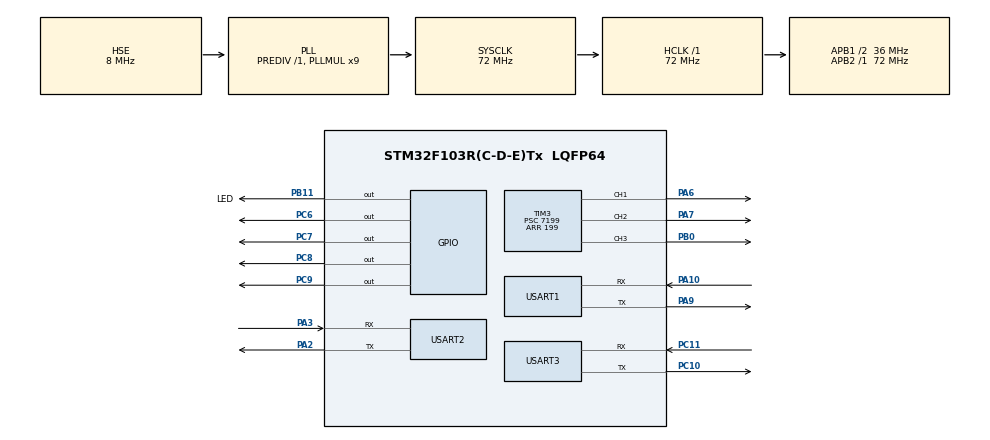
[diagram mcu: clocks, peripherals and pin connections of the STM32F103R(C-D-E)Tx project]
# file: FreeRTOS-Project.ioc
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FREERTOS.BinarySemaphores01=servo_moved_flag,Dynamic,NULL;initial_array_fill_flag,Dynamic,NULL
FREERTOS.Queues01=byte_form_data_queue,1,uint32_t,0,Dynamic,NULL,NULL;min_dist_queue,1,uint16_t,0,Dynamic,NULL,NULL;lidar_data_transmission_queue,32,uint8_t,0,Dynamic,NULL,NULL;mmwave_data_transmission_queue,128,uint8_t,0,Dynamic,NULL,NULL
FREERTOS.Tasks01=task_LED_blink,-3,128,func_LED_blink,Default,NULL,Dynamic,NULL,NULL;task_motor,0,128,func_motor,Default,NULL,Dynamic,NULL,NULL;task_initialize,2,128,func_initialize,Default,NULL,Dynamic,NULL,NULL;task_servo,1,128,func_servo,Default,NULL,Dynamic,NULL,NULL;task_lidar,0,128,func_lidar,Default,NULL,Dynamic,NULL,NULL;task_mmwave,1,128,func_mmwave,Default,NULL,Dynamic,NULL,NULL
FREERTOS.configENABLE_BACKWARD_COMPATIBILITY=0
FREERTOS.configTOTAL_HEAP_SIZE=10240
Mcu.Family=STM32F1
Mcu.Name=STM32F103R(C-D-E)Tx
Mcu.Package=LQFP64
NVIC.PriorityGroup=NVIC_PRIORITYGROUP_4
NVIC.TIM3_IRQn=true\:3\:0\:true\:false\:true\:false\:true\:true
NVIC.TIM4_IRQn=true\:0\:0\:false\:false\:true\:false\:false\:true
NVIC.TimeBase=TIM4_IRQn
NVIC.TimeBaseIP=TIM4
NVIC.USART1_IRQn=true\:7\:0\:true\:false\:true\:true\:true\:true
NVIC.USART2_IRQn=true\:7\:0\:true\:false\:true\:true\:true\:true
NVIC.USART3_IRQn=true\:6\:0\:true\:false\:true\:true\:true\:true
PA10.Mode=Asynchronous
PA10.Signal=USART1_RX
PA13.Mode=Trace_Asynchronous_SW
PA13.Signal=SYS_JTMS-SWDIO
PA14.Mode=Trace_Asynchronous_SW
PA14.Signal=SYS_JTCK-SWCLK
PA2.Mode=Asynchronous
PA2.Signal=USART2_TX
PA3.Mode=Asynchronous
PA3.Signal=USART2_RX
PA6.Signal=S_TIM3_CH1
PA7.Signal=S_TIM3_CH2
PA9.Mode=Asynchronous
PA9.Signal=USART1_TX
PB0.Signal=S_TIM3_CH3
PB11.GPIO_Label=LED
PB11.Signal=GPIO_Output
PB3.Mode=Trace_Asynchronous_SW
PB3.Signal=SYS_JTDO-TRACESWO
PC10.Mode=Asynchronous
PC10.Signal=USART3_TX
PC11.Mode=Asynchronous
PC11.Signal=USART3_RX
PC6.Signal=GPIO_Output
PC7.Signal=GPIO_Output
PC8.Signal=GPIO_Output
PC9.Signal=GPIO_Output
PD0-OSC_IN.Mode=HSE-External-Oscillator
PD0-OSC_IN.Signal=RCC_OSC_IN
PD1-OSC_OUT.Mode=HSE-External-Oscillator
PD1-OSC_OUT.Signal=RCC_OSC_OUT
ProjectManager.HeapSize=0x200
ProjectManager.StackSize=0x400
ProjectManager.TargetToolchain=MDK-ARM V5
RCC.AHBFreq_Value=72000000
RCC.APB1CLKDivider=RCC_HCLK_DIV2
RCC.APB1Freq_Value=36000000
RCC.APB1TimFreq_Value=72000000
RCC.APB2Freq_Value=72000000
RCC.APB2TimFreq_Value=72000000
RCC.HCLKFreq_Value=72000000
RCC.PLLMUL=RCC_PLL_MUL9
RCC.PLLSourceVirtual=RCC_PLLSOURCE_HSE
RCC.SYSCLKFreq_VALUE=72000000
RCC.SYSCLKSource=RCC_SYSCLKSOURCE_PLLCLK
RCC.USBFreq_Value=72000000
SH.S_TIM3_CH1.0=TIM3_CH1,PWM Generation1 CH1
SH.S_TIM3_CH2.0=TIM3_CH2,PWM Generation2 CH2
SH.S_TIM3_CH3.0=TIM3_CH3,PWM Generation3 CH3
TIM3.Channel-PWM\ Generation1\ CH1=TIM_CHANNEL_1
TIM3.Channel-PWM\ Generation2\ CH2=TIM_CHANNEL_2
TIM3.Channel-PWM\ Generation3\ CH3=TIM_CHANNEL_3
TIM3.Period=199
TIM3.Prescaler=7199
TIM3.Pulse-PWM\ Generation1\ CH1=15
USART1.VirtualMode=VM_ASYNC
USART2.VirtualMode=VM_ASYNC
USART3.VirtualMode=VM_ASYNC
VP_FREERTOS_VS_CMSIS_V1.Mode=CMSIS_V1
VP_SYS_VS_tim4.Mode=TIM4
VP_TIM3_VS_ClockSourceINT.Mode=Internal
board=custom

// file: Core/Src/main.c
/* USER CODE BEGIN Header */
/**
  ******************************************************************************
  * @file           : main.c
  * @brief          : Main program body
  ******************************************************************************
  * @attention
  *
  * <h2><center>&copy; Copyright (c) 2020 STMicroelectronics.
  * All rights reserved.</center></h2>
  *
  * This software component is licensed by ST under Ultimate Liberty license
  * SLA0044, the "License"; You may not use this file except in compliance with
  * the License. You may obtain a copy of the License at:
  *                             www.st.com/SLA0044
  *
  ******************************************************************************
  */
/* USER CODE END Header */
#include "main.h"
#include "cmsis_os.h"

/* USER CODE BEGIN Includes */
#include "MOTOR.h"
#include "OA.h"
#include "SERVO.h"
#include "util.h"
#include "LIDAR.h"
#include "MMWAVE.h"
/* USER CODE END Includes */

/* USER CODE BEGIN PTD */
/*====避障参数设置=======*/
const avoidance_obj avoid_params = {
	.secure_distance = 200,
	.hotzone_limit = 50,
	.minimum_distance = 10
};

/* USER CODE END PTD */

/* USER CODE BEGIN PD */
#define HOT_ZONE 0
#define COLD_ZONE 1

/* USER CODE END PD */

TIM_HandleTypeDef htim3;

UART_HandleTypeDef huart1;
UART_HandleTypeDef huart2;
UART_HandleTypeDef huart3;

osThreadId task_LED_blinkHandle;
osThreadId task_motorHandle;
osThreadId task_initializeHandle;
osThreadId task_servoHandle;
osThreadId task_lidarHandle;
osThreadId task_mmwaveHandle;
osMessageQId byte_form_data_queueHandle;
osMessageQId min_dist_queueHandle;
osMessageQId lidar_data_transmission_queueHandle;
osMessageQId mmwave_data_transmission_queueHandle;
osSemaphoreId servo_moved_flagHandle;
osSemaphoreId initial_array_fill_flagHandle;
/* USER CODE BEGIN PV */
uint8_t ZONE_FLAG = HOT_ZONE;
/* USER CODE END PV */

void SystemClock_Config(void);
static void MX_GPIO_Init(void);
static void MX_TIM3_Init(void);
static void MX_USART1_UART_Init(void);
static void MX_USART2_UART_Init(void);
static void MX_USART3_UART_Init(void);
void func_LED_blink(void const * argument);
void func_motor(void const * argument);
void func_initialize(void const * argument);
void func_servo(void const * argument);
void func_lidar(void const * argument);
void func_mmwave(void const * argument);

int main(void)
{

  /* MCU Configuration--------------------------------------------------------*/

  /* Reset of all peripherals, Initializes the Flash interface and the Systick. */
  HAL_Init();

  /* Configure the system clock */
  SystemClock_Config();

  /* Initialize all configured peripherals */
  MX_GPIO_Init();
  MX_TIM3_Init();
  MX_USART1_UART_Init();
  MX_USART2_UART_Init();
  MX_USART3_UART_Init();

  /* Create the semaphores(s) */
  /* definition and creation of servo_moved_flag */
  osSemaphoreDef(servo_moved_flag);
  servo_moved_flagHandle = osSemaphoreCreate(osSemaphore(servo_moved_flag), 1);

  /* definition and creation of initial_array_fill_flag */
  osSemaphoreDef(initial_array_fill_flag);
  initial_array_fill_flagHandle = osSemaphoreCreate(osSemaphore(initial_array_fill_flag), 1);

  /* Create the queue(s) */
  /* definition and creation of byte_form_data_queue */
  osMessageQDef(byte_form_data_queue, 1, uint32_t);
  byte_form_data_queueHandle = osMessageCreate(osMessageQ(byte_form_data_queue), NULL);

  /* definition and creation of min_dist_queue */
  osMessageQDef(min_dist_queue, 1, uint16_t);
  min_dist_queueHandle = osMessageCreate(osMessageQ(min_dist_queue), NULL);

  /* definition and creation of lidar_data_transmission_queue */
  osMessageQDef(lidar_data_transmission_queue, 32, uint8_t);
  lidar_data_transmission_queueHandle = osMessageCreate(osMessageQ(lidar_data_transmission_queue), NULL);

  /* definition and creation of mmwave_data_transmission_queue */
  osMessageQDef(mmwave_data_transmission_queue, 128, uint8_t);
  mmwave_data_transmission_queueHandle = osMessageCreate(osMessageQ(mmwave_data_transmission_queue), NULL);

  /* Create the thread(s) */
  /* definition and creation of task_LED_blink */
  osThreadDef(task_LED_blink, func_LED_blink, osPriorityIdle, 0, 128);
  task_LED_blinkHandle = osThreadCreate(osThread(task_LED_blink), NULL);

  /* definition and creation of task_motor */
  osThreadDef(task_motor, func_motor, osPriorityNormal, 0, 128);
  task_motorHandle = osThreadCreate(osThread(task_motor), NULL);

  /* definition and creation of task_initialize */
  osThreadDef(task_initialize, func_initialize, osPriorityHigh, 0, 128);
  task_initializeHandle = osThreadCreate(osThread(task_initialize), NULL);

  /* definition and creation of task_servo */
  osThreadDef(task_servo, func_servo, osPriorityAboveNormal, 0, 128);
  task_servoHandle = osThreadCreate(osThread(task_servo), NULL);

  /* definition and creation of task_lidar */
  osThreadDef(task_lidar, func_lidar, osPriorityNormal, 0, 128);
  task_lidarHandle = osThreadCreate(osThread(task_lidar), NULL);

  /* definition and creation of task_mmwave */
  osThreadDef(task_mmwave, func_mmwave, osPriorityAboveNormal, 0, 128);
  task_mmwaveHandle = osThreadCreate(osThread(task_mmwave), NULL);

  /* Start scheduler */
  osKernelStart();

  /* We should never get here as control is now taken by the scheduler */
  /* Infinite loop */
  while (1)
  {

  }
}

void SystemClock_Config(void)
{
  RCC_OscInitTypeDef RCC_OscInitStruct = {0};
  RCC_ClkInitTypeDef RCC_ClkInitStruct = {0};

  /** Initializes the RCC Oscillators according to the specified parameters
  * in the RCC_OscInitTypeDef structure.
  */
  RCC_OscInitStruct.OscillatorType = RCC_OSCILLATORTYPE_HSE;
  RCC_OscInitStruct.HSEState = RCC_HSE_ON;
  RCC_OscInitStruct.HSEPredivValue = RCC_HSE_PREDIV_DIV1;
  RCC_OscInitStruct.HSIState = RCC_HSI_ON;
  RCC_OscInitStruct.PLL.PLLState = RCC_PLL_ON;
  RCC_OscInitStruct.PLL.PLLSource = RCC_PLLSOURCE_HSE;
  RCC_OscInitStruct.PLL.PLLMUL = RCC_PLL_MUL9;
  if (HAL_RCC_OscConfig(&RCC_OscInitStruct) != HAL_OK)
  {
    Error_Handler();
  }
  /** Initializes the CPU, AHB and APB buses clocks
  */
  RCC_ClkInitStruct.ClockType = RCC_CLOCKTYPE_HCLK|RCC_CLOCKTYPE_SYSCLK
                              |RCC_CLOCKTYPE_PCLK1|RCC_CLOCKTYPE_PCLK2;
  RCC_ClkInitStruct.SYSCLKSource = RCC_SYSCLKSOURCE_PLLCLK;
  RCC_ClkInitStruct.AHBCLKDivider = RCC_SYSCLK_DIV1;
  RCC_ClkInitStruct.APB1CLKDivider = RCC_HCLK_DIV2;
  RCC_ClkInitStruct.APB2CLKDivider = RCC_HCLK_DIV1;

  if (HAL_RCC_ClockConfig(&RCC_ClkInitStruct, FLASH_LATENCY_2) != HAL_OK)
  {
    Error_Handler();
  }
}

static void MX_TIM3_Init(void)
{

  TIM_ClockConfigTypeDef sClockSourceConfig = {0};
  TIM_MasterConfigTypeDef sMasterConfig = {0};
  TIM_OC_InitTypeDef sConfigOC = {0};

  htim3.Instance = TIM3;
  htim3.Init.Prescaler = 7199;
  htim3.Init.CounterMode = TIM_COUNTERMODE_UP;
  htim3.Init.Period = 199;
  htim3.Init.ClockDivision = TIM_CLOCKDIVISION_DIV1;
  htim3.Init.AutoReloadPreload = TIM_AUTORELOAD_PRELOAD_DISABLE;
  if (HAL_TIM_Base_Init(&htim3) != HAL_OK)
  {
    Error_Handler();
  }
  sClockSourceConfig.ClockSource = TIM_CLOCKSOURCE_INTERNAL;
  if (HAL_TIM_ConfigClockSource(&htim3, &sClockSourceConfig) != HAL_OK)
  {
    Error_Handler();
  }
  if (HAL_TIM_PWM_Init(&htim3) != HAL_OK)
  {
    Error_Handler();
  }
  sMasterConfig.MasterOutputTrigger = TIM_TRGO_RESET;
  sMasterConfig.MasterSlaveMode = TIM_MASTERSLAVEMODE_DISABLE;
  if (HAL_TIMEx_MasterConfigSynchronization(&htim3, &sMasterConfig) != HAL_OK)
  {
    Error_Handler();
  }
  sConfigOC.OCMode = TIM_OCMODE_PWM1;
  sConfigOC.Pulse = 15;
  sConfigOC.OCPolarity = TIM_OCPOLARITY_HIGH;
  sConfigOC.OCFastMode = TIM_OCFAST_DISABLE;
  if (HAL_TIM_PWM_ConfigChannel(&htim3, &sConfigOC, TIM_CHANNEL_1) != HAL_OK)
  {
    Error_Handler();
  }
  sConfigOC.Pulse = 0;
  if (HAL_TIM_PWM_ConfigChannel(&htim3, &sConfigOC, TIM_CHANNEL_2) != HAL_OK)
  {
    Error_Handler();
  }
  if (HAL_TIM_PWM_ConfigChannel(&htim3, &sConfigOC, TIM_CHANNEL_3) != HAL_OK)
  {
    Error_Handler();
  }
  /* USER CODE BEGIN TIM3_Init 2 */
	HAL_TIM_PWM_Start(&htim3,TIM_CHANNEL_1);//开启 PWM 通道
  /* USER CODE END TIM3_Init 2 */
  HAL_TIM_MspPostInit(&htim3);

}

static void MX_USART1_UART_Init(void)
{

  huart1.Instance = USART1;
  huart1.Init.BaudRate = 115200;
  huart1.Init.WordLength = UART_WORDLENGTH_8B;
  huart1.Init.StopBits = UART_STOPBITS_1;
  huart1.Init.Parity = UART_PARITY_NONE;
  huart1.Init.Mode = UART_MODE_TX_RX;
  huart1.Init.HwFlowCtl = UART_HWCONTROL_NONE;
  huart1.Init.OverSampling = UART_OVERSAMPLING_16;
  if (HAL_UART_Init(&huart1) != HAL_OK)
  {
    Error_Handler();
  }

}

static void MX_USART2_UART_Init(void)
{

  huart2.Instance = USART2;
  huart2.Init.BaudRate = 115200;
  huart2.Init.WordLength = UART_WORDLENGTH_8B;
  huart2.Init.StopBits = UART_STOPBITS_1;
  huart2.Init.Parity = UART_PARITY_NONE;
  huart2.Init.Mode = UART_MODE_TX_RX;
  huart2.Init.HwFlowCtl = UART_HWCONTROL_NONE;
  huart2.Init.OverSampling = UART_OVERSAMPLING_16;
  if (HAL_UART_Init(&huart2) != HAL_OK)
  {
    Error_Handler();
  }
  /* USER CODE BEGIN USART2_Init 2 */

	HAL_UART_Receive_IT(&huart2, (uint8_t *)aRxBuffer, RXBUFFERSIZE);//该函数会开启接收中断
  /* USER CODE END USART2_Init 2 */

}

static void MX_USART3_UART_Init(void)
{

  huart3.Instance = USART3;
  huart3.Init.BaudRate = 115200;
  huart3.Init.WordLength = UART_WORDLENGTH_8B;
  huart3.Init.StopBits = UART_STOPBITS_1;
  huart3.Init.Parity = UART_PARITY_NONE;
  huart3.Init.Mode = UART_MODE_TX_RX;
  huart3.Init.HwFlowCtl = UART_HWCONTROL_NONE;
  huart3.Init.OverSampling = UART_OVERSAMPLING_16;
  if (HAL_UART_Init(&huart3) != HAL_OK)
  {
    Error_Handler();
  }
  /* USER CODE BEGIN USART3_Init 2 */
	HAL_UART_Receive_IT(&huart3, (uint8_t *)aRxBuffer, RXBUFFERSIZE);//该函数会开启接收中断
  /* USER CODE END USART3_Init 2 */

}

static void MX_GPIO_Init(void)
{
  GPIO_InitTypeDef GPIO_InitStruct = {0};

  /* GPIO Ports Clock Enable */
  __HAL_RCC_GPIOC_CLK_ENABLE();
  __HAL_RCC_GPIOD_CLK_ENABLE();
  __HAL_RCC_GPIOA_CLK_ENABLE();
  __HAL_RCC_GPIOB_CLK_ENABLE();

  /*Configure GPIO pin Output Level */
  HAL_GPIO_WritePin(LED_GPIO_Port, LED_Pin, GPIO_PIN_RESET);

  /*Configure GPIO pin Output Level */
  HAL_GPIO_WritePin(GPIOC, GPIO_PIN_6|GPIO_PIN_7|GPIO_PIN_8|GPIO_PIN_9, GPIO_PIN_RESET);

  /*Configure GPIO pins : PC13 PC14 PC15 PC0
                           PC1 PC2 PC3 PC4
                           PC5 PC12 */
  GPIO_InitStruct.Pin = GPIO_PIN_13|GPIO_PIN_14|GPIO_PIN_15|GPIO_PIN_0
                          |GPIO_PIN_1|GPIO_PIN_2|GPIO_PIN_3|GPIO_PIN_4
                          |GPIO_PIN_5|GPIO_PIN_12;
  GPIO_InitStruct.Mode = GPIO_MODE_ANALOG;
  HAL_GPIO_Init(GPIOC, &GPIO_InitStruct);

  /*Configure GPIO pins : PA0 PA1 PA4 PA5
                           PA8 PA11 PA12 PA15 */
  GPIO_InitStruct.Pin = GPIO_PIN_0|GPIO_PIN_1|GPIO_PIN_4|GPIO_PIN_5
                          |GPIO_PIN_8|GPIO_PIN_11|GPIO_PIN_12|GPIO_PIN_15;
  GPIO_InitStruct.Mode = GPIO_MODE_ANALOG;
  HAL_GPIO_Init(GPIOA, &GPIO_InitStruct);

  /*Configure GPIO pins : PB1 PB2 PB10 PB12
                           PB13 PB14 PB15 PB4
                           PB5 PB6 PB7 PB8
                           PB9 */
  GPIO_InitStruct.Pin = GPIO_PIN_1|GPIO_PIN_2|GPIO_PIN_10|GPIO_PIN_12
                          |GPIO_PIN_13|GPIO_PIN_14|GPIO_PIN_15|GPIO_PIN_4
                          |GPIO_PIN_5|GPIO_PIN_6|GPIO_PIN_7|GPIO_PIN_8
                          |GPIO_PIN_9;
  GPIO_InitStruct.Mode = GPIO_MODE_ANALOG;
  HAL_GPIO_Init(GPIOB, &GPIO_InitStruct);

  /*Configure GPIO pin : LED_Pin */
  GPIO_InitStruct.Pin = LED_Pin;
  GPIO_InitStruct.Mode = GPIO_MODE_OUTPUT_PP;
  GPIO_InitStruct.Pull = GPIO_NOPULL;
  GPIO_InitStruct.Speed = GPIO_SPEED_FREQ_LOW;
  HAL_GPIO_Init(LED_GPIO_Port, &GPIO_InitStruct);

  /*Configure GPIO pins : PC6 PC7 PC8 PC9 */
  GPIO_InitStruct.Pin = GPIO_PIN_6|GPIO_PIN_7|GPIO_PIN_8|GPIO_PIN_9;
  GPIO_InitStruct.Mode = GPIO_MODE_OUTPUT_PP;
  GPIO_InitStruct.Pull = GPIO_NOPULL;
  GPIO_InitStruct.Speed = GPIO_SPEED_FREQ_LOW;
  HAL_GPIO_Init(GPIOC, &GPIO_InitStruct);

  /*Configure GPIO pin : PD2 */
  GPIO_InitStruct.Pin = GPIO_PIN_2;
  GPIO_InitStruct.Mode = GPIO_MODE_ANALOG;
  HAL_GPIO_Init(GPIOD, &GPIO_InitStruct);

}

void func_LED_blink(void const * argument)
{
  /* USER CODE BEGIN 5 */
  /* Infinite loop */
  for(;;)
  {
		osDelay(500);
		HAL_GPIO_TogglePin(GPIOB,GPIO_PIN_11);
  }
  /* USER CODE END 5 */
}

void func_motor(void const * argument)
{
  /* USER CODE BEGIN func_motor */
	/*func_motor()任务读取队列信息，*/
	uint32_t byte_form_array = 0;
	uint16_t minimum_distance = 0;
	osEvent temp;
  /* Infinite loop */
  for(;;)
  {
		temp = osMessageGet(byte_form_data_queueHandle,osWaitForever);
		if(temp.status==osEventMessage)
		{
			byte_form_array = temp.value.v;
		}

		temp = osMessageGet(min_dist_queueHandle,100);
		if(temp.status==osEventMessage)
		{
			minimum_distance = temp.value.v;
		}

//		printf("minimum distance:%d, set param:%d\n",minimum_distance,avoid_params.minimum_distance);
		if(byte_form_array == 0x17||byte_form_array == 0x15||byte_form_array == 0x1d||
			byte_form_array == 0x1f||minimum_distance <= avoid_params.minimum_distance)
				{
					backward(18);
				}//当1的个数大于4或障碍数组为10101时，倒车
		else if((byte_form_array & 0x0e) == 0x00) forward(17);
		else if((byte_form_array&0x1c)>>3 >= (byte_form_array&0x07)) right_steel();
		else if((byte_form_array&0x1c)>>3 < (byte_form_array&0x07)) left_steel();
		else printf("undefined");
    osDelay(50);
  }
  /* USER CODE END func_motor */
}

void func_initialize(void const * argument)
{
  /* USER CODE BEGIN func_initialize */
	for(;;)
	{
		HAL_Delay(50);
		#if SENSOR == LIDAR
		initialize_servo(15,1,150);
		#endif
		osThreadTerminate(task_initializeHandle);
	}
  /* USER CODE END func_initialize */
}

void func_servo(void const * argument)
{
  /* USER CODE BEGIN func_servo */
#if SENSOR == LIDAR
  /* Infinite loop */
  for(;;)
  {
		spin_servo(&servo_pos,&direction,end_angle_pos,start_angle_pos);
		osSemaphoreRelease(servo_moved_flagHandle);
    osDelay(170);
  }
#else
	osThreadTerminate(task_servoHandle);
#endif
  /* USER CODE END func_servo */
}

void func_lidar(void const * argument)
{
  /* USER CODE BEGIN func_lidar */
#if SENSOR == LIDAR
	//int32_t angle  = 0;
	int32_t temp1=0,temp2=0;//临时变量
	uint8_t minimum_dis = 0;
	const uint8_t divide_span = (end_angle_pos - start_angle_pos)/5;
	const uint8_t skip_digits = (20-(end_angle_pos - start_angle_pos))/2;
	static uint8_t initial_array_fill_flag = 0;
	uint16_t byte_form_array=0;
	//存放雷达探测到前方障碍物距离数据
	static uint16_t obstacle_array[20];
	static uint8_t obstacle_array_bitmask[20];
	static uint8_t deducted_obstacle_array[5];
  /* Infinite loop */
  for(;;)
  {
		osSemaphoreWait(servo_moved_flagHandle,osWaitForever);
		read_one_frame(&lidar_distance,&huart2,frame_data);
		if(lidar_distance < 2)
		{
			osDelay(20);
			read_one_frame(&lidar_distance,&huart2,frame_data);
		}
		//angle = convert_servo_angle(servo_pos);
		/*Step 2:读取障碍物数据，等待障碍数组填满*/
		obstacle_array[servo_pos-5] = lidar_distance;
		/*仅当已经收集完一次障碍物数据后再开始数据处理*/
		if(initial_array_fill_flag < (20-2*skip_digits))
		{
			initial_array_fill_flag += 1;
		}else
		{
			HAL_TIM_PWM_Start(&htim3,TIM_CHANNEL_2);//开启 PWM 通道
			HAL_TIM_PWM_Start(&htim3,TIM_CHANNEL_3);//开启 PWM 通道
			initial_array_fill_flag = 0xFF;
		}
		if(initial_array_fill_flag == 0xFF)
		{
			//找出障碍物的最小距离
			minimum_dis = obstacle_array[skip_digits];
			for(temp1=(skip_digits);temp1<20-(skip_digits);temp1++)
			{
				if(obstacle_array[temp1]<=minimum_dis)
					minimum_dis = obstacle_array[temp1];
			}

			/*Sub step 1:计算障碍物的平均距离，如果小于热区hotzone设定的分界值，则设定为热区模式*/
			temp2 = 0;
			for(temp1=(skip_digits);temp1<20-(skip_digits);temp1++)
			{
				temp2 += obstacle_array[temp1];
			}
			temp2 /= 20;
			if(temp2 <= avoid_params.hotzone_limit) ZONE_FLAG = HOT_ZONE;
			else ZONE_FLAG = COLD_ZONE;
			//printf("Current mode:%d\n",ZONE_FLAG);

			/*Sub step 2:处理长度20的障碍物数组*/
			if(lidar_distance >= avoid_params.secure_distance)
			{
				obstacle_array_bitmask[servo_pos-5] = 0;
			}else
			{
				obstacle_array_bitmask[servo_pos-5] = 1;//1表示检测到障碍物在避障范围内
			}

			/*Sub step 2:把长度为20的障碍物数组缩减为5*/
			deducted_obstacle_array[0] = 0;
			deducted_obstacle_array[4] = 0;
			for(temp2=0;temp2<divide_span;temp2++)
			{
				if(obstacle_array_bitmask[(skip_digits)+temp2]==1)deducted_obstacle_array[0] = 1;
				if(obstacle_array_bitmask[(skip_digits+4*divide_span)+temp2]==1)deducted_obstacle_array[4] = 1;
			}

			for(temp1=1;temp1<4;temp1++)
			{
				deducted_obstacle_array[temp1] = 0;
				for(temp2=0;temp2<divide_span;temp2++)
				{
					deducted_obstacle_array[temp1] += obstacle_array_bitmask[(skip_digits+temp1*divide_span)+temp2];
				}
				deducted_obstacle_array[temp1] = (deducted_obstacle_array[temp1]/(divide_span/2))>1?1:0;
			}
//调试用
			printf("\n");
			for(temp1=0;temp1<5;temp1++)
			{
				printf("%d ",deducted_obstacle_array[temp1]);
			}
			printf("\n");
			byte_form_array = 0;
			for(temp1=0;temp1<5;temp1++)
			{
				temp2 = deducted_obstacle_array[temp1];
				byte_form_array |= temp2 << (4-temp1);
			}
			osMessagePut(byte_form_data_queueHandle,byte_form_array,50);
			osMessagePut(min_dist_queueHandle,minimum_dis,50);
		}
		osDelay(100);
  }
	#else
		osThreadTerminate(task_lidarHandle);
	#endif

  /* USER CODE END func_lidar */
}

void func_mmwave(void const * argument)
{
  /* USER CODE BEGIN func_mmwave */

	#if SENSOR == MMWAVE
  uint16_t obstacle_array_counter_mean_distance[5] = {0xFFFF,0xFFFF,0xFFFF,0xFFFF,0xFFFF};
	uint16_t byte_form_array;
	uint16_t minimum_dis;
	/* Infinite loop */
  for(;;)
  {
		if(mmwave_process_data(obstacle_array_counter_mean_distance,10,5))
		{
			byte_form_array = process_obstacle_array(&minimum_dis,avoid_params,obstacle_array_counter_mean_distance);

			osMessagePut(byte_form_data_queueHandle,byte_form_array,50);
			osMessagePut(min_dist_queueHandle,minimum_dis,50);
		}
		osDelay(1);
  }
	#else
	osThreadTerminate(task_mmwaveHandle);
	#endif
  /* USER CODE END func_mmwave */
}

void HAL_TIM_PeriodElapsedCallback(TIM_HandleTypeDef *htim)
{
  if (htim->Instance == TIM4) {
    HAL_IncTick();
  }
}

void Error_Handler(void)
{
}

/************************ (C) COPYRIGHT STMicroelectronics *****END OF FILE****/
